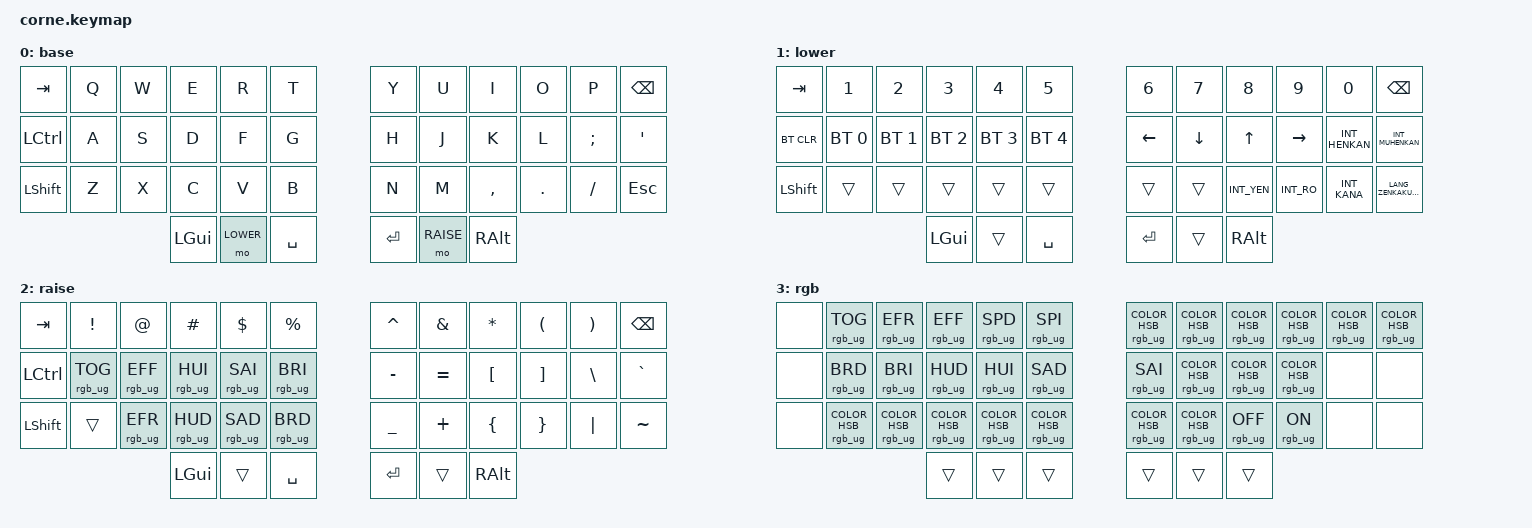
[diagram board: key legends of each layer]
/*
 * Copyright (c) 2020 The ZMK Contributors
 *
 * SPDX-License-Identifier: MIT
 */

#include <behaviors.dtsi>
#include <dt-bindings/zmk/keys.h>
#include <dt-bindings/zmk/bt.h>
#include <dt-bindings/zmk/rgb.h>

#define BASE 0
#define LOWER 1
#define RAISE 2
#define ADJUST 3

/ {
        conditional_layers {
                compatible = "zmk,conditional-layers";

                adjust_layer {
                        if-layers = <LOWER RAISE>;
                        then-layer = <ADJUST>;
                };
        };

        keymap {
                compatible = "zmk,keymap";

                default_layer {
                        display-name = "base";
// -----------------------------------------------------------------------------------------
// |  TAB |  Q  |  W  |  E  |  R  |  T  |   |  Y  |  U   |  I  |  O  |  P  | BSPC |
// | CTRL |  A  |  S  |  D  |  F  |  G  |   |  H  |  J   |  K  |  L  |  ;  |  '   |
// | SHFT |  Z  |  X  |  C  |  V  |  B  |   |  N  |  M   |  ,  |  .  |  /  | ESC  |
//                    | GUI | LWR | SPC |   | ENT | RSE  | ALT |
                        bindings = <
   &kp TAB   &kp Q &kp W &kp E &kp R &kp T   &kp Y &kp U  &kp I     &kp O   &kp P    &kp BSPC
   &kp LCTRL &kp A &kp S &kp D &kp F &kp G   &kp H &kp J  &kp K     &kp L   &kp SEMI &kp SQT
   &kp LSHFT &kp Z &kp X &kp C &kp V &kp B   &kp N &kp M  &kp COMMA &kp DOT &kp FSLH &kp ESC
                  &kp LGUI &mo LOWER &kp SPACE   &kp RET &mo RAISE &kp RALT
                        >;
                };
                lower_layer {
                        display-name = "lower";
// -----------------------------------------------------------------------------------------
// |  TAB |  1  |  2  |  3  |  4  |  5  |   |  6  |  7  |  8  |  9  |  0  | BSPC |
// | BTCLR| BT1 | BT2 | BT3 | BT4 | BT5 |   | LFT | DWN |  UP | RGT | HENK| MHEN |
// | SHFT |     |     |     |     |     |   |     |     | YEN |  RO | KANA| Z/H  |
//                    | GUI |     | SPC |   | ENT |     | ALT |
                        bindings = <
   &kp TAB    &kp N1       &kp N2       &kp N3       &kp N4       &kp N5         &kp N6   &kp N7   &kp N8 &kp N9    &kp N0 &kp BSPC
   &bt BT_CLR &bt BT_SEL 0 &bt BT_SEL 1 &bt BT_SEL 2 &bt BT_SEL 3 &bt BT_SEL 4   &kp LEFT &kp DOWN &kp UP      &kp RIGHT  &kp INT_HENKAN &kp INT_MUHENKAN
   &kp LSHFT  &trans       &trans       &trans       &trans       &trans         &trans   &trans   &kp INT_YEN &kp INT_RO &kp INT_KANA   &kp LANG_ZENKAKUHANKAKU
                                    &kp LGUI     &trans       &kp SPACE      &kp RET  &trans   &kp RALT
                        >;
                };

                raise_layer {
                        display-name = "raise";
// -----------------------------------------------------------------------------------------
// |  TAB |  !  |  @  |  #  |  $  |  %  |   |  ^  |  &  |  *  |  (  |  )  | BSPC |
// | CTRL | RTOG| REFF| RHUI| RSAI| RBRI|   |  -  |  =  |  [  |  ]  |  \  |  `   |
// | SHFT |     | REFR| RHUD| RSAD| RBRD|   |  _  |  +  |  {  |  }  | "|" |  ~   |
//                    | GUI |     | SPC |   | ENT |     | ALT |
                        bindings = <
   &kp  TAB  &kp EXCL &kp AT &kp HASH &kp DLLR &kp PRCNT   &kp CARET &kp AMPS  &kp ASTRK &kp LPAR &kp RPAR &kp BSPC
   &kp LCTRL &rgb_ug RGB_TOG &rgb_ug RGB_EFF &rgb_ug RGB_HUI &rgb_ug RGB_SAI &rgb_ug RGB_BRI   &kp MINUS &kp EQUAL &kp LBKT  &kp RBKT &kp BSLH &kp GRAVE
   &kp LSHFT &trans          &rgb_ug RGB_EFR &rgb_ug RGB_HUD &rgb_ug RGB_SAD &rgb_ug RGB_BRD   &kp UNDER &kp PLUS  &kp LBRC  &kp RBRC &kp PIPE &kp TILDE
                             &kp LGUI &trans   &kp SPACE   &kp RET   &trans    &kp RALT
                        >;
                };

                adjust_layer {
                        display-name = "rgb";
// -----------------------------------------------------------------------------------------
// Hold LOWER + RAISE, then tap:
// |      | TOG | E-  | E+  | SPD-| SPD+|   | PURP | CYAN | PINK | RED | GREEN | BLUE |
// |      | BRT-| BRT+| HUE-| HUE+| SAT-|   | SAT+ | WARM | ICE  | DIM |       |      |
// |      | RED | ORNG| YELL| GRN | BLUE|   | TEAL | VIO  | OFF  | ON  |       |      |
//                    |     |     |     |   |     |      |     |
                        bindings = <
   &none &rgb_ug RGB_TOG &rgb_ug RGB_EFR &rgb_ug RGB_EFF &rgb_ug RGB_SPD &rgb_ug RGB_SPI   &rgb_ug RGB_COLOR_HSB(285,100,70) &rgb_ug RGB_COLOR_HSB(180,100,70) &rgb_ug RGB_COLOR_HSB(320,100,70) &rgb_ug RGB_COLOR_HSB(0,100,70) &rgb_ug RGB_COLOR_HSB(120,100,70) &rgb_ug RGB_COLOR_HSB(240,100,70)
   &none &rgb_ug RGB_BRD &rgb_ug RGB_BRI &rgb_ug RGB_HUD &rgb_ug RGB_HUI &rgb_ug RGB_SAD   &rgb_ug RGB_SAI                  &rgb_ug RGB_COLOR_HSB(32,70,80)  &rgb_ug RGB_COLOR_HSB(200,40,80) &rgb_ug RGB_COLOR_HSB(285,100,35) &none                             &none
   &none &rgb_ug RGB_COLOR_HSB(0,100,70) &rgb_ug RGB_COLOR_HSB(28,100,70) &rgb_ug RGB_COLOR_HSB(60,100,70) &rgb_ug RGB_COLOR_HSB(120,100,70) &rgb_ug RGB_COLOR_HSB(240,100,70)   &rgb_ug RGB_COLOR_HSB(170,100,70) &rgb_ug RGB_COLOR_HSB(275,100,70) &rgb_ug RGB_OFF                  &rgb_ug RGB_ON                    &none                             &none
                  &trans &trans &trans   &trans &trans &trans
                        >;
                };
        };
};
